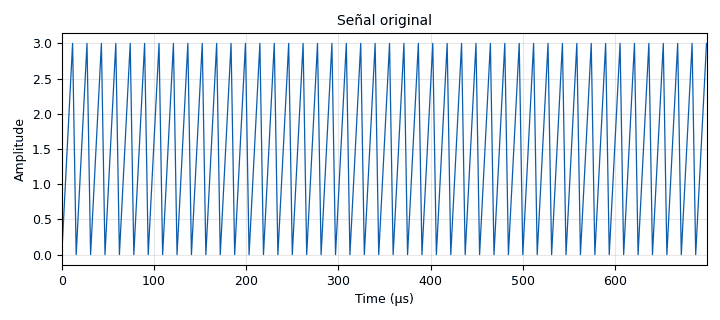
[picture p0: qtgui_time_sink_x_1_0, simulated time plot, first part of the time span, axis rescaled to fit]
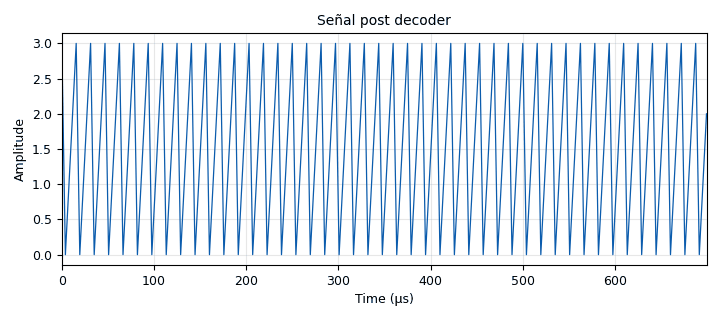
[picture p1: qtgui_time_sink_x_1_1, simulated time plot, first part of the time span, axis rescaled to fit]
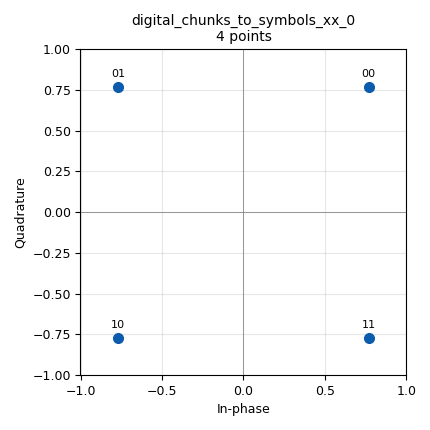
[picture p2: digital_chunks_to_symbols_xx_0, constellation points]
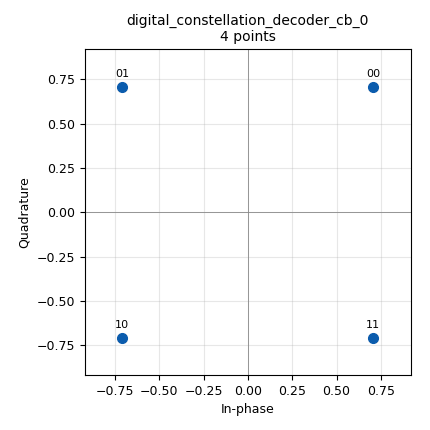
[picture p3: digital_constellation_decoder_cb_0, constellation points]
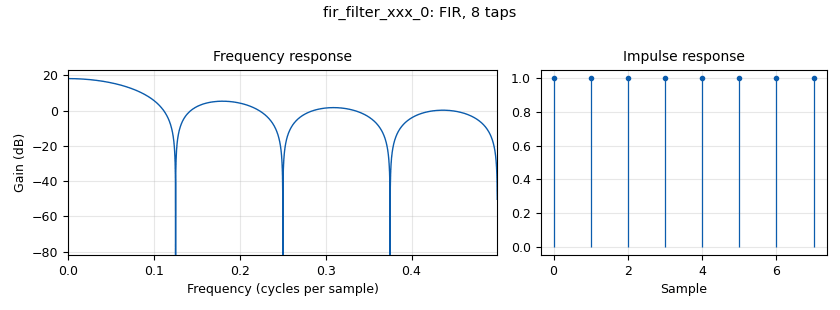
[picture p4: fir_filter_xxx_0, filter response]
options:
  parameters:
    generate_options: qt_gui
    id: punto_1
    output_language: python
    title: Qpsk
  states: {}

blocks:
- name: Bps
  id: variable
  parameters:
    value: '2'
  states: {}
- name: Constelacion
  id: variable
  parameters:
    value: (0.77+0.77j,-0.77+0.77j,-0.77-0.77j,0.77-0.77j)
  states: {}
- name: M
  id: variable
  parameters:
    value: len(Constelacion)
  states: {}
- name: Rb
  id: variable
  parameters:
    value: Rs*Bps
  states: {}
- name: Rs
  id: variable
  parameters:
    value: '32000'
  states: {}
- name: Samp_rate
  id: variable
  parameters:
    value: Sps*Rs
  states: {}
- name: Sps
  id: variable
  parameters:
    value: '8'
  states: {}
- name: constellation
  id: variable_constellation
  parameters:
    const_points: (0.77+0.77j,-0.77+0.77j,-0.77-0.77j,0.77-0.77j)
    dims: '1'
    normalization: digital.constellation.AMPLITUDE_NORMALIZATION
    precision: '8'
    rot_sym: '4'
    sym_map: '[0, 1, 2, 3]'
    type: calcdist
  states: {}
- name: h
  id: variable
  parameters:
    value: '[1]*Sps'
  states: {}
- name: ruido
  id: variable_qtgui_range
  parameters:
    label: ruido
    start: '0'
    step: '1'
    stop: '100'
    value: '0'
  states: {}
- name: analog_noise_source_x_0
  id: analog_noise_source_x
  parameters:
    amp: ruido
    noise_type: analog.GR_GAUSSIAN
    seed: '0'
    type: complex
  states: {}
- name: analog_random_source_x_0
  id: analog_random_source_x
  parameters:
    max: '4'
    min: '0'
    num_samps: '1000'
    repeat: 'True'
    type: byte
  states: {state: disabled}
- name: blocks_add_xx_0
  id: blocks_add_xx
  parameters:
    type: complex
  states: {}
- name: blocks_char_to_float_0
  id: blocks_char_to_float
  parameters:
    scale: '1'
  states: {state: disabled}
- name: blocks_char_to_float_0_0
  id: blocks_char_to_float
  parameters:
    scale: '1'
  states: {state: disabled}
- name: blocks_char_to_float_0_1
  id: blocks_char_to_float
  parameters:
    scale: '1'
  states: {}
- name: blocks_int_to_float_0
  id: blocks_int_to_float
  parameters:
    scale: '1'
  states: {}
- name: blocks_multiply_const_vxx_0
  id: blocks_multiply_const_vxx
  parameters:
    const: 1/Sps
    type: complex
  states: {}
- name: blocks_pack_k_bits_bb_0
  id: blocks_pack_k_bits_bb
  parameters:
    k: '8'
  states: {state: disabled}
- name: blocks_packed_to_unpacked_xx_0
  id: blocks_packed_to_unpacked_xx
  parameters:
    bits_per_chunk: Bps
    endianness: gr.GR_MSB_FIRST
    type: byte
  states: {state: disabled}
- name: blocks_unpack_k_bits_bb_0
  id: blocks_unpack_k_bits_bb
  parameters:
    k: '8'
  states: {state: disabled}
- name: blocks_unpacked_to_packed_xx_0
  id: blocks_unpacked_to_packed_xx
  parameters:
    bits_per_chunk: '2'
    endianness: gr.GR_MSB_FIRST
    type: byte
  states: {state: disabled}
- name: blocks_vector_source_x_0
  id: blocks_vector_source_x
  parameters:
    repeat: 'True'
    type: int
    vector: (0, 1,2,3)
  states: {}
- name: digital_chunks_to_symbols_xx_0
  id: digital_chunks_to_symbols_xx
  parameters:
    dimension: '1'
    in_type: int
    out_type: complex
    symbol_table: Constelacion
  states: {}
- name: digital_constellation_decoder_cb_0
  id: digital_constellation_decoder_cb
  parameters:
    constellation: constellation
  states: {}
- name: fir_filter_xxx_0
  id: fir_filter_xxx
  parameters:
    decim: '8'
    taps: h
    type: ccf
  states: {}
- name: import_0
  id: import
  parameters:
    imports: import math
  states: {}
- name: interp_fir_filter_xxx_0_0
  id: interp_fir_filter_xxx
  parameters:
    interp: Sps
    taps: h
    type: ccf
  states: {}
- name: qtgui_const_sink_x_0
  id: qtgui_const_sink_x
  parameters:
    size: '1024'
    type: complex
  states: {state: disabled}
- name: qtgui_freq_sink_x_0
  id: qtgui_freq_sink_x
  parameters:
    average: '0.05'
    bw: Samp_rate
    fc: '0'
    fftsize: '1024'
    type: complex
  states: {state: disabled}
- name: qtgui_time_sink_x_0
  id: qtgui_time_sink_x
  parameters:
    size: '1024'
    srate: Samp_rate
    type: complex
  states: {state: disabled}
- name: qtgui_time_sink_x_1
  id: qtgui_time_sink_x
  parameters:
    name: '"Señal demodulada"'
    size: '1024'
    srate: Samp_rate
    type: float
  states: {state: disabled}
- name: qtgui_time_sink_x_1_0
  id: qtgui_time_sink_x
  parameters:
    name: '"Señal original"'
    size: '1024'
    srate: Samp_rate
    type: float
  states: {}
- name: qtgui_time_sink_x_1_1
  id: qtgui_time_sink_x
  parameters:
    name: '"Señal post decoder"'
    size: '1024'
    srate: Samp_rate
    type: float
  states: {}
- name: virtual_sink_0
  id: virtual_sink
  parameters:
    stream_id: P1
  states: {}
- name: virtual_sink_1
  id: virtual_sink
  parameters:
    stream_id: P0
  states: {}
- name: virtual_source_0
  id: virtual_source
  parameters:
    stream_id: P0
  states: {state: disabled}
- name: virtual_source_1
  id: virtual_source
  parameters:
    stream_id: P1
  states: {state: disabled}
- name: virtual_source_2
  id: virtual_source
  parameters:
    stream_id: P1
  states: {}

connections:
- [analog_noise_source_x_0, '0', blocks_add_xx_0, '1']
- [analog_random_source_x_0, '0', blocks_char_to_float_0_0, '0']
- [analog_random_source_x_0, '0', blocks_pack_k_bits_bb_0, '0']
- [blocks_add_xx_0, '0', virtual_sink_0, '0']
- [blocks_char_to_float_0, '0', qtgui_time_sink_x_1, '0']
- [blocks_char_to_float_0_0, '0', qtgui_time_sink_x_1_0, '0']
- [blocks_char_to_float_0_1, '0', qtgui_time_sink_x_1_1, '0']
- [blocks_int_to_float_0, '0', qtgui_time_sink_x_1_0, '0']
- [blocks_multiply_const_vxx_0, '0', digital_constellation_decoder_cb_0, '0']
- [blocks_pack_k_bits_bb_0, '0', blocks_packed_to_unpacked_xx_0, '0']
- [blocks_packed_to_unpacked_xx_0, '0', digital_chunks_to_symbols_xx_0, '0']
- [blocks_unpack_k_bits_bb_0, '0', blocks_char_to_float_0, '0']
- [blocks_unpacked_to_packed_xx_0, '0', blocks_unpack_k_bits_bb_0, '0']
- [blocks_vector_source_x_0, '0', blocks_int_to_float_0, '0']
- [blocks_vector_source_x_0, '0', digital_chunks_to_symbols_xx_0, '0']
- [digital_chunks_to_symbols_xx_0, '0', interp_fir_filter_xxx_0_0, '0']
- [digital_constellation_decoder_cb_0, '0', blocks_char_to_float_0_1, '0']
- [digital_constellation_decoder_cb_0, '0', blocks_unpacked_to_packed_xx_0, '0']
- [fir_filter_xxx_0, '0', blocks_multiply_const_vxx_0, '0']
- [interp_fir_filter_xxx_0_0, '0', blocks_add_xx_0, '0']
- [interp_fir_filter_xxx_0_0, '0', virtual_sink_1, '0']
- [virtual_source_0, '0', qtgui_freq_sink_x_0, '0']
- [virtual_source_1, '0', qtgui_const_sink_x_0, '0']
- [virtual_source_1, '0', qtgui_time_sink_x_0, '0']
- [virtual_source_2, '0', fir_filter_xxx_0, '0']

metadata:
  file_format: 1
